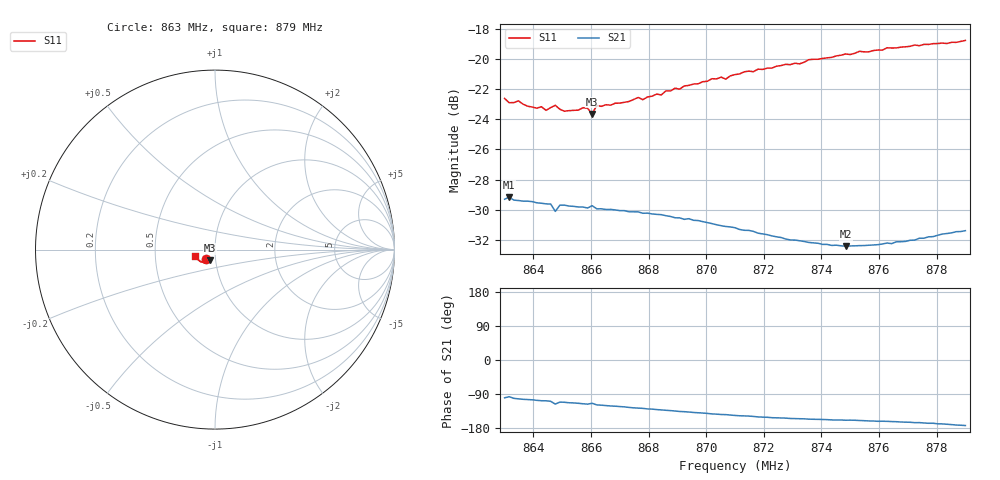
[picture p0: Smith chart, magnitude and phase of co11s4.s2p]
# HZ S RI R 50
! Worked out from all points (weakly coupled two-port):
!   101 points, 863 MHz to 879 MHz, reference 50 ohm
!   highest |S21| = -29.16 dB at 863.16 MHz (marker M1); lowest = -32.4 dB at 874.84 MHz (marker M2)
!   lowest |S11| = -23.6 dB at 866.04 MHz (marker M3), VSWR 1.14, Z = 46.8 - j5.51 ohm
!   |S11| at or under -10 dB: start of sweep to end of sweep
!   S12 and S22 are empty: the file has one direction only
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8.63e8  -0.0494 -0.055  -0.00577 -0.0338  0 0  0 0
8.6316e8  -0.0421 -0.0578  -0.00417 -0.0346  0 0  0 0
8.6348e8  -0.0449 -0.057  -0.00736 -0.0331  0 0  0 0
8.6444e8  -0.0391 -0.0551  -0.01 -0.0315  0 0  0 0
8.646e8  -0.0403 -0.0559  -0.0108 -0.0312  0 0  0 0
8.6476e8  -0.0417 -0.0564  -0.0139 -0.028  0 0  0 0
8.6492e8  -0.04 -0.0551  -0.0118 -0.0306  0 0  0 0
8.6508e8  -0.0377 -0.0555  -0.012 -0.0305  0 0  0 0
8.6572e8  -0.0367 -0.0583  -0.0139 -0.0292  0 0  0 0
8.6588e8  -0.0371 -0.0577  -0.0143 -0.0287  0 0  0 0
8.6604e8  -0.0298 -0.0586  -0.0134 -0.0297  0 0  0 0
8.662e8  -0.0371 -0.0595  -0.0152 -0.028  0 0  0 0
8.6844e8  -0.0377 -0.066  -0.0203 -0.0227  0 0  0 0
8.6892e8  -0.0407 -0.0688  -0.0209 -0.0211  0 0  0 0
8.6908e8  -0.0409 -0.0681  -0.0213 -0.0207  0 0  0 0
8.702e8  -0.047 -0.072  -0.0225 -0.0174  0 0  0 0
8.7068e8  -0.0479 -0.0711  -0.0226 -0.0163  0 0  0 0
8.71e8  -0.0516 -0.0722  -0.023 -0.0153  0 0  0 0
8.7372e8  -0.0699 -0.071  -0.0225 -0.00983  0 0  0 0
8.7484e8  -0.0788 -0.0676  -0.0224 -0.00861  0 0  0 0
8.7644e8  -0.0916 -0.0584  -0.0233 -0.00735  0 0  0 0
8.79e8  -0.109 -0.037  -0.0268 -0.00331  0 0  0 0
